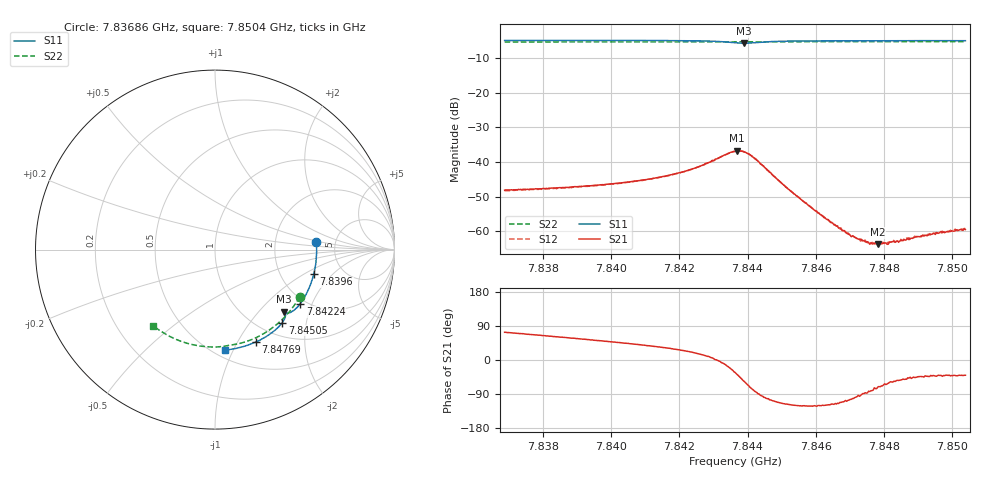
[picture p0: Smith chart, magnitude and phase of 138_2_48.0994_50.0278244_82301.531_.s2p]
#  HZ  S  RI  R  50.00
! Rohde & Schwarz Vector Network Analyzer
! Rohde-Schwarz,ZNB20-2Port,1311601062101988,3.16
! Created: UTC 12/23/2023, 3:48:28 AM
! freq[Hz]  re:S11  im:S11  re:S21  im:S21  re:S12  im:S12  re:S22  im:S22
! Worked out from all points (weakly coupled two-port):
!   401 points, 7.83686 GHz to 7.8504 GHz, reference 50 ohm
!   highest |S21| = -36.76 dB at 7.8437 GHz (marker M1); lowest = -63.8 dB at 7.84783 GHz (marker M2)
!   lowest |S11| = -5.7 dB at 7.8439 GHz (marker M3), VSWR 3.14, Z = 73.7 - j69.4 ohm
!   |S11| at or under -10 dB: nowhere
!   |S22| runs from -5.4 to -5.3 dB; largest |S21 - S12| = 0.00038
!   S11 on the Smith chart (normalised r, x): 7.83686 GHz: 3.54, +0.47; 7.8396 GHz: 3.07, -1.24; 7.84224 GHz: 1.86, -1.65; 7.84505 GHz: 1.25, -1.46; 7.84769 GHz: 0.80, -1.20; 7.8504 GHz: 0.57, -0.93
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7.83686e9  0.5643 0.045  0.00114 0.00375  0.00117 0.0037  0.4718 -0.2616
7.839128e9  0.5571 -0.1056  0.00254 0.00367  0.00251 0.00363  0.3761 -0.3879
7.839602e9  0.5502 -0.1367  0.0029 0.00365  0.00288 0.00359  0.3517 -0.4104
7.840449e9  0.5332 -0.1913  0.00367 0.00356  0.00363 0.00353  0.3047 -0.4467
7.841397e9  0.5069 -0.251  0.00497 0.00342  0.00492 0.0034  0.2479 -0.4812
7.842243e9  0.4745 -0.3024  0.00698 0.00292  0.00691 0.00297  0.1935 -0.5054
7.843123e9  0.4246 -0.348  0.0113 -0.000238  0.0112 -0.000193  0.1344 -0.5236
7.843631e9  0.3894 -0.3517  0.0119 -0.00766  0.012 -0.00762  0.1003 -0.5296
7.843699e9  0.3868 -0.3496  0.0114 -0.00905  0.0113 -0.00907  0.0959 -0.5304
7.843902e9  0.3852 -0.3452  0.0077 -0.0117  0.00765 -0.0118  0.0832 -0.5326
7.844207e9  0.3919 -0.3515  0.0015 -0.0111  0.00163 -0.0113  0.0636 -0.5364
7.845053e9  0.3753 -0.4064  -0.002 -0.00425  -0.00196 -0.00427  0.00443 -0.5427
7.8459e9  0.3332 -0.45  -0.00113 -0.00182  -0.00115 -0.00184  -0.0552 -0.5406
7.846441e9  0.3031 -0.4729  -0.000618 -0.00119  -0.000612 -0.00122  -0.0931 -0.536
7.846983e9  0.2717 -0.4923  -0.000246 -0.000867  -0.000247 -0.00088  -0.1303 -0.5284
7.847322e9  0.2515 -0.5033  -4.99e-05 -0.000771  -1.76e-05 -0.000723  -0.1536 -0.5224
7.847525e9  0.2393 -0.5094  4.18e-05 -0.000707  4.8e-05 -0.000684  -0.167 -0.5185
7.847694e9  0.2289 -0.5141  0.000123 -0.00065  0.000172 -0.00066  -0.1784 -0.5148
7.84783e9  0.2206 -0.5181  0.000208 -0.000614  0.000178 -0.000585  -0.1872 -0.5116
7.848168e9  0.1996 -0.5264  0.000355 -0.000597  0.000345 -0.000614  -0.2096 -0.503
7.849624e9  0.1061 -0.5526  0.000719 -0.000609  0.000721 -0.000595  -0.3 -0.4559
7.850403e9  0.0548 -0.5597  0.000811 -0.000686  0.000823 -0.000722  -0.3442 -0.4242
